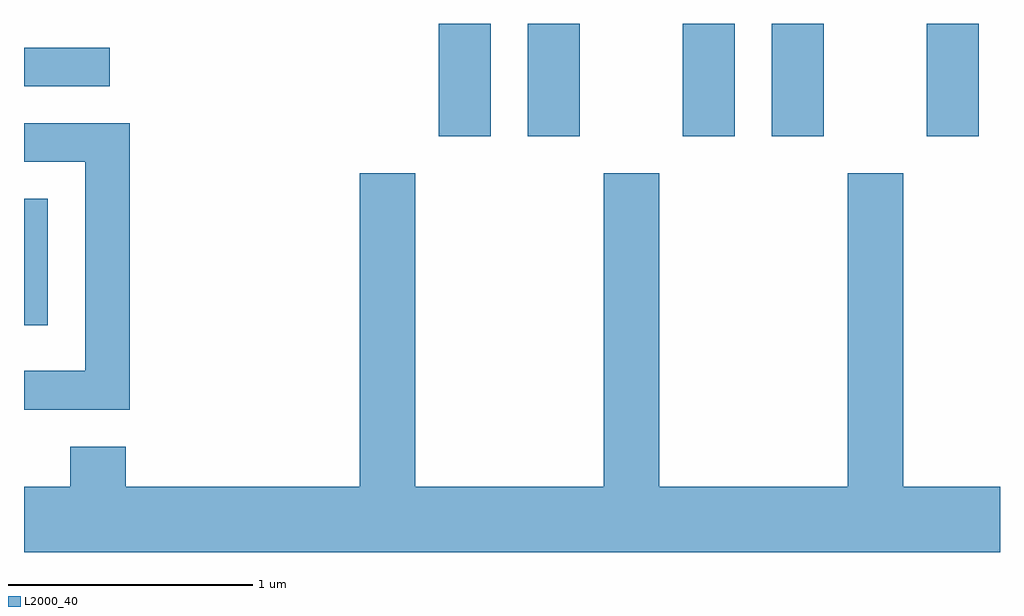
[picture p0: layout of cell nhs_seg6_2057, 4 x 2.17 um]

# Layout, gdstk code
import gdstk
lib = gdstk.Library(unit=1e-6, precision=1e-09)
def R(c, l, rs):  # rectangles x0, y0, x1, y1
    for r in rs: c.add(gdstk.rectangle(r[:2], r[2:], *l))
def P(c, l, *ps):  # polygons
    for p in ps: c.add(gdstk.Polygon(p, *l))
L2000_40 = (2000, 40)

nhs_seg6_2057 = lib.new_cell('nhs_seg6_2057')
R(nhs_seg6_2057, L2000_40, [(247.611,1590.926,247.709,1591.444), (249.311,1591.701,249.524,1592.162), (249.676,1591.701,249.889,1592.162), (250.311,1591.701,250.524,1592.162), (250.676,1591.701,250.889,1592.162), (251.311,1591.701,251.524,1592.162), (247.611,1591.906,247.963,1592.064)])
P(nhs_seg6_2057, L2000_40, [(248.044,1591.754),(247.611,1591.754),(247.611,1591.596),(247.861,1591.596),(247.861,1590.739),(247.611,1590.739),(247.611,1590.581),(248.044,1590.581)],
  [(251.611,1590.264),(251.214,1590.264),(251.214,1591.549),(250.986,1591.549),(250.986,1590.264),(250.214,1590.264),(250.214,1591.549),(249.986,1591.549),(249.986,1590.264),(249.214,1590.264),(249.214,1591.549),(248.986,1591.549),(248.986,1590.264),(248.029,1590.264),(248.029,1590.429),(247.801,1590.429),(247.801,1590.264),(247.611,1590.264),(247.611,1589.996),(251.611,1589.996)])

lib.write_gds('nhs_seg6_2057.gds')
